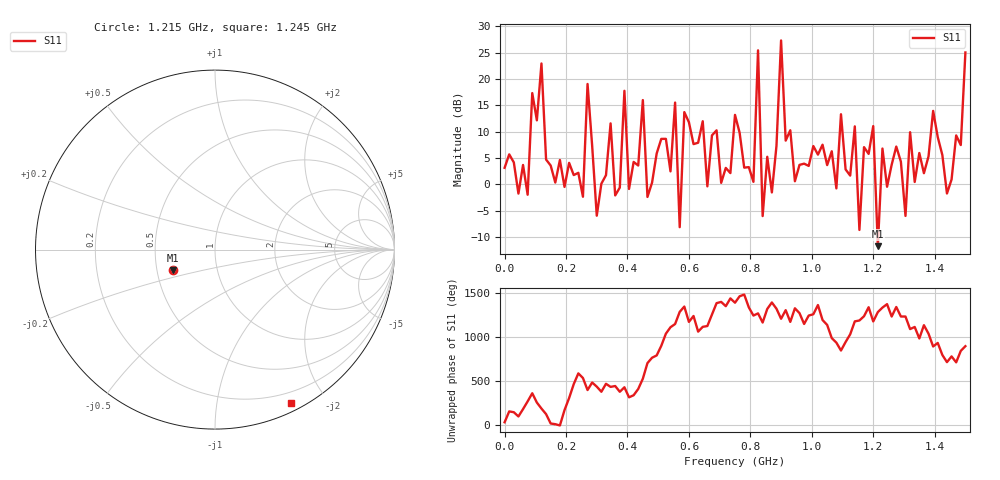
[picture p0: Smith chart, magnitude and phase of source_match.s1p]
! Created with skrf 1.8.0 (http://scikit-rf.org).
# Hz S RI R 50.0
!freq ReS11 ImS11
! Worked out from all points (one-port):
!   101 points, 50 kHz to 1.5 GHz, reference 50 ohm
!   lowest |S11| = -11.7 dB at 1.215 GHz (marker M1), VSWR 1.70, Z = 30.4 - j7.49 ohm
!   |S11| at or under -10 dB: 1.213891 GHz to 1.216385 GHz (2.493 MHz wide, 0.205 % of centre)
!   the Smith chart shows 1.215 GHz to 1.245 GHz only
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50000  1.184 0.8189
6.0048e7  -1.526 -0.1213
9.0047e7  7.329 0.5533
1.20046e8  -13.79 -2.561
1.350455e8  -1.046 1.368
1.950435e8  -0.9409 0.1166
2.70041e8  6.772 5.877
2.850405e8  -1.383 1.87
3.750375e8  0.8727 0.3345
3.90037e8  2.34 7.359
4.050365e8  0.6768 -0.6033
4.50035e8  -6.204 1.134
4.650345e8  0.7422 -0.1718
5.70031e8  -0.3452 -0.1895
7.50025e8  3.103 -3.349
8.10023e8  -1.031 0.2436
8.250225e8  -18.29 -3.806
8.40022e8  0.0206 0.5013
8.850205e8  -0.9958 -2.097
9.0002e8  -15.07 17.61
9.150195e8  -1.737 -1.942
9.450185e8  -0.3794 -1.004
1.125012e9  0.8411 -0.8748
1.21501e9  -0.2334 -0.1149
1.320006e9  3.046 0.7149
1.395004e9  -4.967 0.3879
1.470001e9  2.909 -0.2244
1.5e9  -17.83 0.2821
